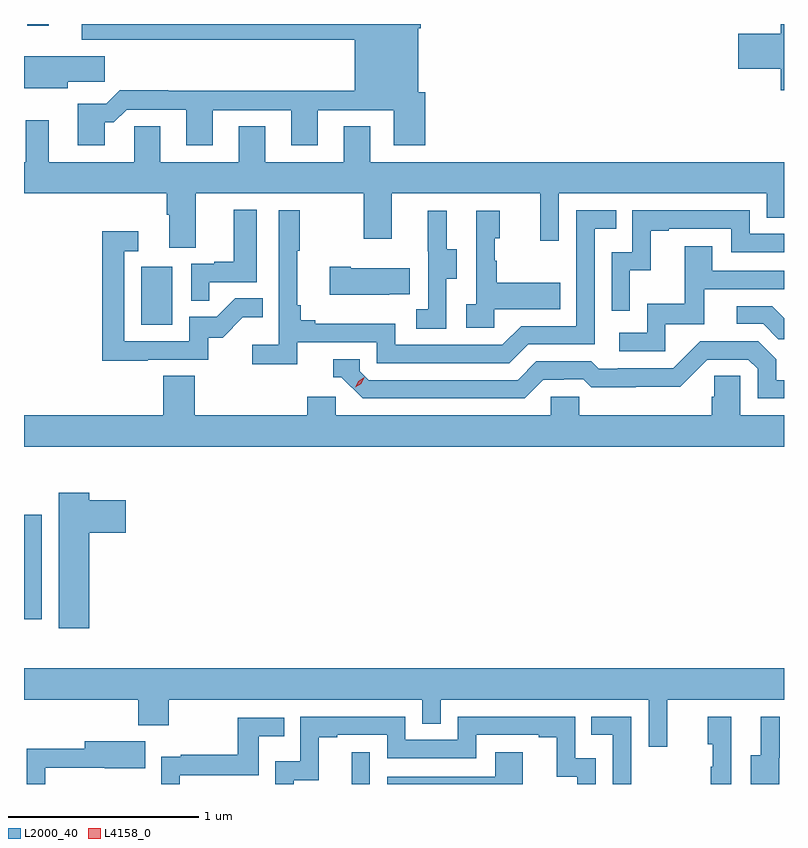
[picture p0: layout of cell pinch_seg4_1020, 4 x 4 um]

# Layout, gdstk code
import gdstk
lib = gdstk.Library(unit=1e-6, precision=1e-09)
def R(c, l, rs):  # rectangles x0, y0, x1, y1
    for r in rs: c.add(gdstk.rectangle(r[:2], r[2:], *l))
def P(c, l, *ps):  # polygons
    for p in ps: c.add(gdstk.Polygon(p, *l))
L2000_40 = (2000, 40)
L4158_0 = (4158, 0)

pinch_seg4_1020 = lib.new_cell('pinch_seg4_1020')
R(pinch_seg4_1020, L2000_40, [(815.333,755.084,815.43,755.251), (813.609,755.95,813.702,756.502), (814.226,757.5,814.39,757.807), (813.625,759.075,813.739,759.084)])
P(pinch_seg4_1020, L2000_40, [(817.609,759.084),(817.592,759.084),(817.592,759.032),(817.368,759.032),(817.368,758.849),(817.592,758.849),(817.592,758.735),(817.609,758.735)],
  [(814.033,758.567),(814.082,758.567),(814.149,758.634),(814.463,758.634),(814.463,758.445),(814.603,758.445),(814.603,758.631),(815.015,758.631),(815.015,758.445),(815.155,758.445),(815.155,758.631),(815.555,758.631),(815.555,758.445),(815.72,758.445),(815.72,758.724),(815.683,758.724),(815.683,759.062),(815.696,759.062),(815.696,759.084),(813.914,759.084),(813.914,759.002),(815.351,759.002),(815.351,758.732),(814.367,758.732),(814.367,758.735),(814.112,758.735),(814.042,758.665),(813.893,758.665),(813.893,758.445),(814.033,758.445)],
  [(813.838,758.779),(814.033,758.779),(814.033,758.914),(813.609,758.914),(813.609,758.747),(813.838,758.747)],
  [(814.513,758.192),(815.398,758.192),(815.398,757.953),(815.545,757.953),(815.545,758.192),(816.326,758.192),(816.326,757.944),(816.423,757.944),(816.423,758.192),(817.518,758.192),(817.518,758.065),(817.609,758.065),(817.609,758.356),(815.431,758.356),(815.431,758.546),(815.291,758.546),(815.291,758.356),(814.879,758.356),(814.879,758.546),(814.739,758.546),(814.739,758.356),(814.327,758.356),(814.327,758.546),(814.188,758.546),(814.188,758.356),(813.739,758.356),(813.739,758.578),(813.618,758.578),(813.618,758.356),(813.609,758.356),(813.609,758.192),(814.361,758.192),(814.361,758.08),(814.373,758.08),(814.373,757.906),(814.513,757.906)],
  [(814.583,757.725),(814.834,757.725),(814.834,758.107),(814.712,758.107),(814.712,757.834),(814.609,757.834),(814.609,757.821),(814.488,757.821),(814.488,757.627),(814.583,757.627)],
  [(815.048,757.41),(815.466,757.41),(815.466,757.299),(816.163,757.299),(816.262,757.398),(816.612,757.398),(816.612,758.007),(816.725,758.007),(816.725,758.103),(816.516,758.103),(816.516,757.494),(816.225,757.494),(816.126,757.395),(815.562,757.395),(815.562,757.507),(815.143,757.507),(815.143,757.526),(815.066,757.526),(815.066,757.603),(815.047,757.603),(815.047,757.891),(815.059,757.891),(815.059,758.104),(814.95,758.104),(814.95,757.396),(814.809,757.396),(814.809,757.294),(815.048,757.294)],
  [(816.798,757.787),(816.908,757.787),(816.908,757.995),(817.003,757.995),(817.003,758.007),(817.332,758.007),(817.332,757.884),(817.609,757.884),(817.609,757.98),(817.428,757.98),(817.428,758.103),(816.81,758.103),(816.81,757.884),(816.702,757.884),(816.702,757.575),(816.798,757.575)],
  [(815.832,757.744),(815.887,757.744),(815.887,757.899),(815.833,757.899),(815.833,758.101),(815.735,758.101),(815.735,757.887),(815.736,757.887),(815.736,757.583),(815.673,757.583),(815.673,757.48),(815.832,757.48)],
  [(816.084,757.583),(816.431,757.583),(816.431,757.723),(816.097,757.723),(816.097,757.838),(816.087,757.838),(816.087,757.956),(816.112,757.956),(816.112,758.101),(815.988,758.101),(815.988,757.61),(815.937,757.61),(815.937,757.485),(816.084,757.485)],
  [(814.259,757.317),(814.578,757.317),(814.578,757.434),(814.654,757.434),(814.761,757.541),(814.865,757.541),(814.865,757.64),(814.722,757.64),(814.624,757.542),(814.479,757.542),(814.479,757.413),(814.137,757.413),(814.137,757.887),(814.21,757.887),(814.21,757.993),(814.021,757.993),(814.021,757.312),(814.259,757.312)],
  [(816.984,757.503),(817.189,757.503),(817.189,757.689),(817.609,757.689),(817.609,757.785),(817.231,757.785),(817.231,757.915),(817.087,757.915),(817.087,757.612),(816.888,757.612),(816.888,757.458),(816.741,757.458),(816.741,757.362),(816.984,757.362)],
  [(815.531,757.661),(815.639,757.661),(815.639,757.798),(815.329,757.798),(815.329,757.806),(815.217,757.806),(815.217,757.658),(815.531,757.658)],
  [(817.609,757.536),(817.546,757.599),(817.359,757.599),(817.359,757.506),(817.5,757.506),(817.58,757.426),(817.609,757.426)],
  [(816.343,757.212),(816.45,757.212),(816.45,757.215),(816.553,757.215),(816.595,757.173),(816.828,757.173),(816.828,757.175),(817.064,757.175),(817.206,757.317),(817.422,757.317),(817.47,757.269),(817.47,757.113),(817.609,757.113),(817.609,757.209),(817.567,757.209),(817.567,757.319),(817.473,757.413),(817.167,757.413),(817.026,757.272),(816.733,757.272),(816.733,757.269),(816.634,757.269),(816.595,757.308),(816.306,757.308),(816.207,757.209),(815.424,757.209),(815.376,757.257),(815.376,757.32),(815.237,757.32),(815.237,757.224),(815.28,757.224),(815.391,757.113),(816.244,757.113)],
  [(816.381,757.122),(816.381,757.024),(815.25,757.024),(815.25,757.122),(815.099,757.122),(815.099,757.024),(814.508,757.024),(814.508,757.232),(814.343,757.232),(814.343,757.024),(813.609,757.024),(813.609,756.86),(817.609,756.86),(817.609,757.024),(817.38,757.024),(817.38,757.232),(817.243,757.232),(817.243,757.122),(817.229,757.122),(817.229,757.024),(816.531,757.024),(816.531,757.122)],
  [(813.952,756.407),(814.144,756.407),(814.144,756.577),(813.952,756.577),(813.952,756.616),(813.791,756.616),(813.791,755.904),(813.952,755.904)],
  [(816.995,755.528),(817.609,755.528),(817.609,755.692),(813.609,755.692),(813.609,755.528),(814.211,755.528),(814.211,755.393),(814.371,755.393),(814.371,755.528),(815.706,755.528),(815.706,755.401),(815.802,755.401),(815.802,755.528),(816.897,755.528),(816.897,755.28),(816.995,755.28)],
  [(816.804,755.439),(816.595,755.439),(816.595,755.343),(816.708,755.343),(816.708,755.084),(816.804,755.084)],
  [(815.028,755.105),(815.161,755.105),(815.161,755.331),(815.257,755.331),(815.257,755.343),(815.52,755.343),(815.52,755.22),(815.988,755.22),(815.988,755.343),(816.317,755.343),(816.317,755.331),(816.413,755.331),(816.413,755.123),(816.522,755.123),(816.522,755.084),(816.618,755.084),(816.618,755.22),(816.51,755.22),(816.51,755.439),(815.892,755.439),(815.892,755.316),(815.616,755.316),(815.616,755.439),(815.064,755.439),(815.064,755.203),(814.932,755.203),(814.932,755.084),(815.028,755.084)],
  [(817.332,755.437),(817.208,755.437),(817.208,755.292),(817.234,755.292),(817.234,755.174),(817.224,755.174),(817.224,755.084),(817.332,755.084)],
  [(817.584,755.223),(817.586,755.223),(817.586,755.437),(817.487,755.437),(817.487,755.235),(817.433,755.235),(817.433,755.084),(817.584,755.084)],
  [(814.428,755.13),(814.845,755.13),(814.845,755.336),(814.979,755.336),(814.979,755.433),(814.734,755.433),(814.734,755.239),(814.435,755.239),(814.435,755.227),(814.332,755.227),(814.332,755.084),(814.428,755.084)],
  [(813.72,755.169),(814.033,755.169),(814.033,755.168),(814.247,755.168),(814.247,755.308),(813.929,755.308),(813.929,755.27),(813.624,755.27),(813.624,755.084),(813.72,755.084)],
  [(816.233,755.251),(816.089,755.251),(816.089,755.121),(815.52,755.121),(815.52,755.084),(816.233,755.084)])
P(pinch_seg4_1020, L4158_0, [(815.352,757.172),(815.352,757.172),(815.368,757.205),(815.399,757.224),(815.399,757.224),(815.399,757.224),(815.383,757.191),(815.352,757.172)])

lib.write_gds('pinch_seg4_1020.gds')
